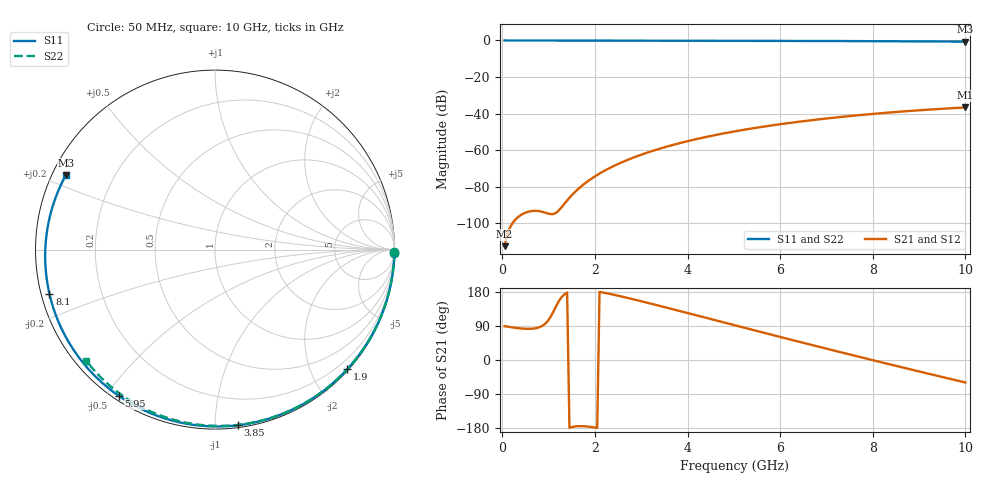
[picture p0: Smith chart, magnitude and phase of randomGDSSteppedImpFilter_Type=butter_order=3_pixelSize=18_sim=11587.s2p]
! freq	dB(S11)	phase(S11)	dB(S12)	phase(S12)
!  dB(S21)	phase(S21)	dB(S22)	phase(S22)
!S-par simulation data
#  GHz  S  DB  R 50
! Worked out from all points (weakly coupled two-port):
!   200 points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, 50 MHz to 10 GHz, reference 50 ohm
!   highest |S21| = -36.62 dB at 10 GHz (marker M1); lowest = -112.4 dB at 50 MHz (marker M2)
!   lowest |S11| = -0.6 dB at 10 GHz (marker M3), VSWR 27.10, Z = 1.95 + j11.8 ohm
!   |S11| at or under -10 dB: nowhere
!   |S22| runs from -0.5 to 0.0 dB; largest |S21 - S12| = 0
!   S11 on the Smith chart (normalised r, x): 50 MHz: open; 1.9 GHz: 0.02, -2.59; 3.85 GHz: 0.01, -1.14; 5.95 GHz: 0.02, -0.54; 8.1 GHz: 0.02, -0.13; 10 GHz: 0.04, +0.24
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0.05  -0.00 -1.1  -112.43 89.1  -112.43 89.1  -0.00 -0.8
0.85  -0.02 -19.1  -93.56 89.3  -93.56 89.3  -0.02 -13.6
1.65  -0.05 -36.7  -80.92 -174.6  -80.92 -174.6  -0.03 -26.2
1.7  -0.05 -37.8  -79.83 -174.6  -79.83 -174.6  -0.03 -27.0
1.75  -0.05 -38.9  -78.79 -174.8  -78.79 -174.8  -0.04 -27.8
1.9  -0.05 -42.2  -75.97 -176.4  -75.97 -176.4  -0.04 -30.1
2.2  -0.06 -48.6  -71.30 177.5  -71.30 177.5  -0.04 -34.8
2.55  -0.07 -56.0  -66.95 168.3  -66.95 168.3  -0.05 -40.1
2.95  -0.08 -64.4  -62.89 156.6  -62.89 156.6  -0.06 -46.2
3.4  -0.10 -73.6  -59.14 142.8  -59.14 142.8  -0.07 -52.9
3.85  -0.11 -82.7  -55.99 128.7  -55.99 128.7  -0.08 -59.4
4.45  -0.14 -94.6  -52.48 109.7  -52.48 109.7  -0.10 -68.0
5.05  -0.16 -106.2  -49.55 90.7  -49.55 90.7  -0.12 -76.4
5.95  -0.22 -123.4  -45.95 62.4  -45.95 62.4  -0.15 -88.6
6.7  -0.27 -137.7  -43.51 39.1  -43.51 39.1  -0.19 -98.4
7.4  -0.33 -151.1  -41.57 17.7  -41.57 17.7  -0.23 -107.3
8.1  -0.40 -165.0  -39.92 -3.5  -39.92 -3.5  -0.28 -116.0
8.35  -0.43 -170.1  -39.40 -10.9  -39.40 -10.9  -0.30 -119.1
8.8  -0.48 -179.5  -38.52 -24.3  -38.52 -24.3  -0.34 -124.6
9.2  -0.53 171.8  -37.82 -36.1  -37.82 -36.1  -0.38 -129.5
9.6  -0.59 162.8  -37.19 -47.8  -37.19 -47.8  -0.43 -134.3
10  -0.64 153.4  -36.62 -59.4  -36.62 -59.4  -0.47 -139.2
